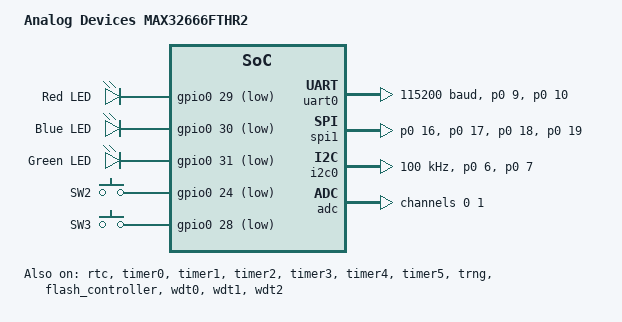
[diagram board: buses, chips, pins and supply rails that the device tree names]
/*
 * Copyright (c) 2023 Analog Devices, Inc.
 *
 * SPDX-License-Identifier: Apache-2.0
 */

/dts-v1/;

 #include <adi/max32666.dtsi>
 #include <adi/max32666-pinctrl.dtsi>

/ {
	 model = "Analog Devices MAX32666FTHR2";
	 compatible = "adi,max32666fthr2";

	 chosen {
		 zephyr,console = &uart0;
		 zephyr,shell-uart = &uart0;
		 zephyr,sram = &sram0;
		 zephyr,flash = &flash0;
	 };

	 leds {
		 compatible = "gpio-leds";
		 led1: led_1 {
			 gpios = <&gpio0 29 GPIO_ACTIVE_LOW>;
			 label = "Red LED";
		 };
		 led2: led_2 {
			 gpios = <&gpio0 30 GPIO_ACTIVE_LOW>;
			 label = "Blue LED";
		 };
		 led3: led_3 {
			 gpios = <&gpio0 31 GPIO_ACTIVE_LOW>;
			 label = "Green LED";
		 };
	 };

	 buttons {
		 compatible = "gpio-keys";
		 pb1: pb1 {
			 gpios = <&gpio0 24 (GPIO_PULL_UP | GPIO_ACTIVE_LOW)>;
			 label = "SW2";
		 };
		 pb2: pb2 {
			 gpios = <&gpio0 28 (GPIO_PULL_UP | GPIO_ACTIVE_LOW)>;
			 label = "SW3";
		 };
	 };

	 /* These aliases are provided for compatibility with samples */
	 aliases {
		led0 = &led1;
		led1 = &led2;
		led2 = &led3;
		sw0 = &pb1;
		sw1 = &pb2;
		rtc = &rtc;
	 };
};

&uart0 {
	pinctrl-0 = <&uart0_tx_p0_9 &uart0_rx_p0_10>;
	pinctrl-names = "default";
	current-speed = <115200>;
	parity = "none";
	status = "okay";
};

&spi1 {
	pinctrl-0 = <&spi1_ss0_p0_16 &spi1_mosi_p0_17
		     &spi1_miso_p0_18 &spi1_sck_p0_19>;
	pinctrl-names = "default";
	status = "okay";
};

&i2c0 {
	pinctrl-0 = <&i2c0_scl_p0_6 &i2c0_sda_p0_7>;
	pinctrl-names = "default";
	clock-frequency = <I2C_BITRATE_STANDARD>;
	status = "okay";
};

&rtc {
	status = "okay";
	alarms-count = <1>;
};

&timer0 {
	status = "okay";
};

&timer1 {
	status = "okay";
};

&timer2 {
	status = "okay";
};

&timer3 {
	status = "okay";
};

&timer4 {
	status = "okay";
};

&timer5 {
	status = "okay";
};

&trng {
	status = "okay";
};

&flash_controller {
	status = "okay";
};

&flash0 {
	partitions {
		compatible = "fixed-partitions";
		#address-cells = <1>;
		#size-cells = <1>;

		code_partition: partition@0 {
			reg = <0x0 0x40000>;
			read-only;
		};

		storage_partition: partition@40000 {
			label = "storage";
			reg = <0x40000 0x40000>;
		};
	};
};

&adc {
	status = "okay";
	io-channels = <&adc 0 &adc 1>;
	#address-cells = <1>;
	#size-cells = <0>;

	channel@0 {
		reg = <0>;
		zephyr,gain = "ADC_GAIN_1";
		zephyr,reference = "ADC_REF_INTERNAL";
		zephyr,acquisition-time = <ADC_ACQ_TIME_DEFAULT>;
		zephyr,resolution = <10>;
		zephyr,vref-mv = <1220>;
	};

	channel@1 {
		reg = <1>;
		zephyr,gain = "ADC_GAIN_1";
		zephyr,reference = "ADC_REF_INTERNAL";
		zephyr,acquisition-time = <ADC_ACQ_TIME_DEFAULT>;
		zephyr,resolution = <10>;
		zephyr,vref-mv = <1220>;
	};
};

&wdt0 {
	status = "okay";
};

&wdt1 {
	status = "okay";
};

&wdt2 {
	status = "okay";
};

&clk_ipo {
	status = "okay";
};

/*
 * Requires for RTC
 */
&clk_ertco {
	status = "okay";
};
